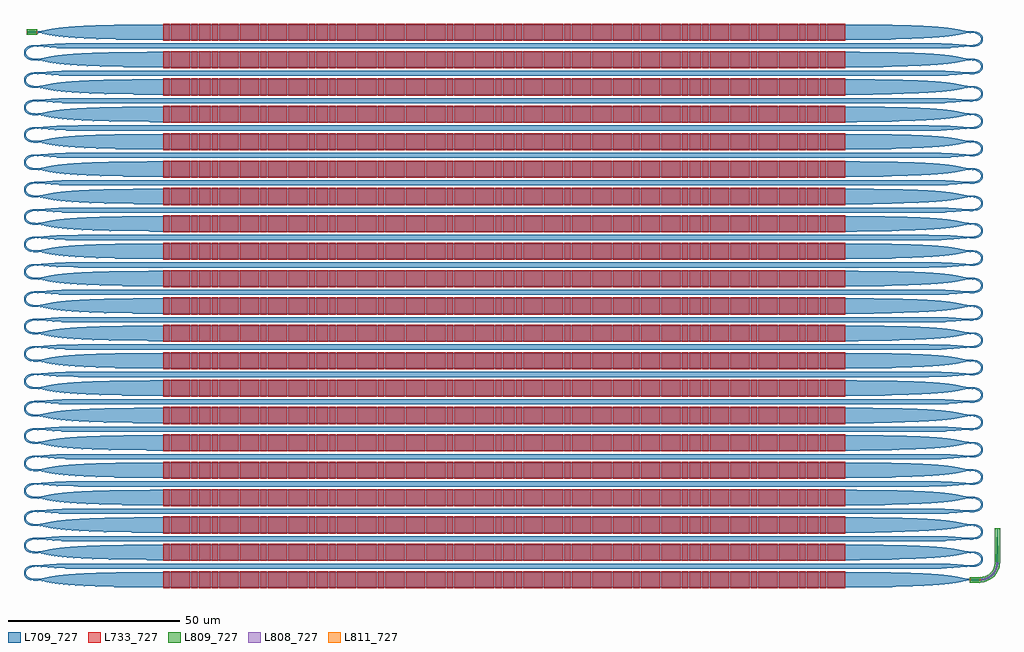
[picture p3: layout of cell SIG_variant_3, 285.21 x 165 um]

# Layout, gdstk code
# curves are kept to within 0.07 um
from math import pi, radians
import gdstk
lib = gdstk.Library(unit=1e-6, precision=1e-09)
def R(c, l, rs):  # rectangles x0, y0, x1, y1
    for r in rs: c.add(gdstk.rectangle(r[:2], r[2:], *l))
def A(c, l, x, y, w, h, nx, ny, dx, dy):  # array of equal rectangles
    R(c, l, [(x+i*dx, y+j*dy, x+i*dx+w, y+j*dy+h) for i in range(nx) for j in range(ny)])
def P(c, l, *ps):  # polygons
    for p in ps: c.add(gdstk.Polygon(p, *l))
L709_727 = (709, 727)
L733_727 = (733, 727)
L808_727 = (808, 727)
L809_727 = (809, 727)
L811_727 = (811, 727)

wg_taper = lib.new_cell('WG_Taper')
P(wg_taper, L709_727, [(-0.25,0),(-0.24,3),(0.24,3),(0.25,0)])
R(wg_taper, L809_727, [(-0.8,0,0.8,3)])
wg_taper.add(gdstk.FlexPath([(0,0.05),(0,-0.05)], 0.5, ends="flush", simple_path=True, layer=811, datatype=727))  # L811_727
wg_taper.add(gdstk.FlexPath([(0,2.95),(0,3.05)], 0.48, ends="flush", simple_path=True, layer=811, datatype=727))  # L811_727
wg_taper.add(gdstk.Label('opt2', (0,-0.05), layer=811, texttype=727))
wg_taper.add(gdstk.Label('opt1', (0,2.95), layer=811, texttype=727))
wg_taper.add(gdstk.Label('Lumerical_INTERCONNECT_library=AIMPhotonics', (-0.3,0), layer=809, texttype=727))
wg_taper.add(gdstk.Label('Component=WG_taper', (0,0), layer=809, texttype=727))
wg_taper.add(gdstk.Label('Spice_param:wg_length=3.000u wg_width1=0.500u wg_width2=0.4800000000000001', (0.3,0), layer=809, texttype=727))

grating_3_cell = lib.new_cell('Grating_3_cell')
R(grating_3_cell, L709_727, [(0,-2.25,200,2.25)])
A(grating_3_cell, L733_727, 0.53, -2.5, 0.381, 5, 38, 1, 0.545, 0)
A(grating_3_cell, L733_727, 21.24, -2.5, 0.382, 5, 219, 1, 0.545, 0)
A(grating_3_cell, L733_727, 141.685, -2.5, 0.381, 5, 107, 1, 0.545, 0)
R(grating_3_cell, L733_727, [(140.595,-2.5,140.976,2.5), (141.14,-2.5,141.522,2.5)])
grating_3_cell.add(gdstk.Label('PORT0', (0,0), layer=1001, texttype=3))
grating_3_cell.add(gdstk.Label('PORT1', (200,0), layer=1001, texttype=3))
grating_3_cell.add(gdstk.Label('sub!', (0,0), layer=1002, texttype=6))

wg_taper_2 = lib.new_cell('WG_Taper$2')
P(wg_taper_2, L709_727, [(-0.24,0),(-0.075,10),(0.075,10),(0.24,0)])
R(wg_taper_2, L809_727, [(-0.8,0,0.8,10)])
wg_taper_2.add(gdstk.FlexPath([(0,0.01),(0,-0.01)], 0.48, ends="flush", simple_path=True, layer=811, datatype=727))  # L811_727
wg_taper_2.add(gdstk.FlexPath([(0,9.99),(0,10.01)], 0.15, ends="flush", simple_path=True, layer=811, datatype=727))  # L811_727
wg_taper_2.add(gdstk.Label('opt2', (0,0), layer=811, texttype=727))
wg_taper_2.add(gdstk.Label('opt1', (0,10), layer=811, texttype=727))
wg_taper_2.add(gdstk.Label('Lumerical_INTERCONNECT_library=AIMPhotonics', (-0.3,0), layer=809, texttype=727))
wg_taper_2.add(gdstk.Label('Component=WG_taper', (0,0), layer=809, texttype=727))
wg_taper_2.add(gdstk.Label('Spice_param:wg_length=10.000u wg_width1=0.480u wg_width2=0.15000000000000002', (0.3,0), layer=809, texttype=727))

term_taper = lib.new_cell('Term_Taper')
term_taper.add(gdstk.Reference(wg_taper_2, (0,0), rotation=3*pi/2))

waveguide_3 = lib.new_cell('Waveguide$3')
P(waveguide_3, L709_727, [(275.6,-0.24),(275.6,0.24),(276.545,0.335),(277.453,0.615),(278.287,1.071),(278.918,1.586),(279.529,2.313),(279.985,3.147),(280.265,4.055),(280.36,5),(280.84,5),(280.735,3.959),(280.427,2.961),(280.008,2.167),(279.358,1.348),(278.557,0.675),(277.639,0.173),(276.641,-0.135)])
P(waveguide_3, L808_727, [(275.6,-0.24),(275.6,0.24),(276.545,0.335),(277.453,0.615),(278.287,1.071),(278.918,1.586),(279.529,2.313),(279.985,3.147),(280.265,4.055),(280.36,5),(280.84,5),(280.735,3.959),(280.427,2.961),(280.008,2.167),(279.358,1.348),(278.557,0.675),(277.639,0.173),(276.641,-0.135)])
P(waveguide_3, L809_727, [(275.6,-0.749),(275.6,0.749),(276.7,0.894),(277.396,1.148),(278.606,1.994),(279.452,3.204),(279.706,3.9),(279.851,5),(281.349,5),(281.263,4.002),(280.812,2.57),(280.31,1.702),(279.666,0.934),(278.898,0.29),(278.03,-0.212),(276.598,-0.663)])
waveguide_3.add(gdstk.FlexPath([(275.61,0),(275.59,0)], 0.48, ends="flush", simple_path=True, layer=811, datatype=727))  # L811_727
waveguide_3.add(gdstk.FlexPath([(280.6,4.99),(280.6,5.01)], 0.48, ends="flush", simple_path=True, layer=811, datatype=727))  # L811_727
waveguide_3.add(gdstk.Label('pin1', (275.6,0), layer=811, texttype=727))
waveguide_3.add(gdstk.Label('pin2', (280.6,5), layer=811, texttype=727))
waveguide_3.add(gdstk.Label('Lumerical_INTERCONNECT_library=Design Kits/APSUNY', (275.6,0), layer=809, texttype=727))
waveguide_3.add(gdstk.Label('Component=ap_suny_cl_band_waveguide_si', (275.6,0.48), layer=809, texttype=727))
waveguide_3.add(gdstk.Label('Spice_param:wg_length=7.850u wg_width=0.480u points="[[275.6,0.0],[280.6,0.0],[280.6,5.0]]" radius=5.0', (275.6,-0.48), layer=809, texttype=727))

taper_0_5_4_5 = lib.new_cell('Taper_0.5_4.5')
P(taper_0_5_4_5, L709_727, [(36.3,-2.25),(20.803,-2.076),(10.813,-1.654),(6.128,-1.214),(1.436,-0.363),(0,-0.25),(0,0.25),(1.436,0.363),(4.437,0.964),(6.658,1.279),(12.834,1.779),(21.97,2.102),(36.3,2.25)])

taper_0_5_1_5 = lib.new_cell('Taper_0.5_1.5')
P(taper_0_5_1_5, L709_727, [(12.05,-0.75),(6.932,-0.667),(0,-0.25),(0,0.25),(6.932,0.667),(12.05,0.75)])

adiabatic_bend = lib.new_cell('Adiabatic$Bend')
P(adiabatic_bend, L709_727, [(-0.253,-0.25),(-1.433,-0.179),(-2.262,0.032),(-2.985,0.433),(-3.493,0.978),(-3.784,1.707),(-3.757,2.423),(-3.434,3.108),(-2.82,3.685),(-2.262,3.968),(-1.647,4.142),(0,4.25),(0,3.75),(-1.509,3.659),(-2.083,3.501),(-2.546,3.267),(-3.075,2.748),(-3.307,2.076),(-3.163,1.405),(-2.679,0.828),(-2.218,0.555),(-1.656,0.371),(-0.967,0.273),(0,0.25),(0,-0.25)])

serp_bend = lib.new_cell('Serp_Bend')
R(serp_bend, L709_727, [(12.05,3.25,36.3,4.75)])
serp_bend.add(gdstk.Reference(taper_0_5_4_5, (0,0)))
serp_bend.add(gdstk.Reference(taper_0_5_1_5, (0,4)))
serp_bend.add(gdstk.Reference(adiabatic_bend, (0,0)))

sig_variant_3 = lib.new_cell('SIG_variant_3')
A(sig_variant_3, L709_727, 36.3, 3.25, 200, 1.5, 1, 20, 0, 8)
sig_variant_3.add(gdstk.Reference(wg_taper, (272.6,0), rotation=3*pi/2))
sig_variant_3.add(gdstk.Reference(wg_taper, (0,160), rotation=pi/2))
r = gdstk.Reference(grating_3_cell, (36.3,0)); r.repetition = gdstk.Repetition(1, 21, v1=(0,0), v2=(0,8)); sig_variant_3.add(r)
sig_variant_3.add(gdstk.Reference(term_taper, (280.6,5), rotation=pi/2))
sig_variant_3.add(gdstk.Reference(waveguide_3, (0,0)))
sig_variant_3.add(gdstk.Reference(taper_0_5_4_5, (272.6,0), rotation=pi))
sig_variant_3.add(gdstk.Reference(taper_0_5_4_5, (0,160)))
r = gdstk.Reference(serp_bend, (272.6,160), rotation=pi); r.repetition = gdstk.Repetition(1, 20, v1=(0,0), v2=(0,-8)); sig_variant_3.add(r)
r = gdstk.Reference(serp_bend, (0,0)); r.repetition = gdstk.Repetition(1, 20, v1=(0,0), v2=(0,8)); sig_variant_3.add(r)

lib.write_gds('SIG_variant_3.gds')
